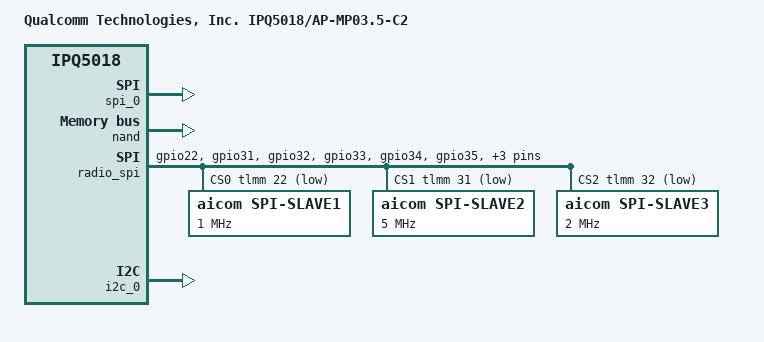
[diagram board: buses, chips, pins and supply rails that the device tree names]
/* Copyright (c) 2018-2021, The Linux Foundation. All rights reserved.
 *
 * Permission to use, copy, modify, and/or distribute this software for any
 * purpose with or without fee is hereby granted, provided that the above
 * copyright notice and this permission notice appear in all copies.
 *
 * THE SOFTWARE IS PROVIDED "AS IS" AND THE AUTHOR DISCLAIMS ALL WARRANTIES
 * WITH REGARD TO THIS SOFTWARE INCLUDING ALL IMPLIED WARRANTIES OF
 * MERCHANTABILITY AND FITNESS. IN NO EVENT SHALL THE AUTHOR BE LIABLE FOR
 * ANY SPECIAL, DIRECT, INDIRECT, OR CONSEQUENTIAL DAMAGES OR ANY DAMAGES
 * WHATSOEVER RESULTING FROM LOSS OF USE, DATA OR PROFITS, WHETHER IN AN
 * ACTION OF CONTRACT, NEGLIGENCE OR OTHER TORTIOUS ACTION, ARISING OUT OF
 * OR IN CONNECTION WITH THE USE OR PERFORMANCE OF THIS SOFTWARE.
 */

#include "ipq5018-mp03.5-c1.dts"

/ {
	#address-cells = <0x2>;
	#size-cells = <0x2>;
	model = "Qualcomm Technologies, Inc. IPQ5018/AP-MP03.5-C2";
	compatible = "qcom,ipq5018-ap-mp03.5-c2", "qcom,ipq5018-mp03.5-c2", "qcom,ipq5018";
	interrupt-parent = <&intc>;

	aliases {
                spi0 = &spi_0;
		serial0 = &blsp1_uart1;
		serial1 = &blsp1_uart2;
		ethernet0 = "/soc/dp1";
		ethernet1 = "/soc/dp2";
	};

	soc {
		spi_0: spi@78b5000 { /* BLSP1 QUP0 */
			status = "ok";
		};

                /* wangyaoyang:
                 * emmc and nand-flash are sharing same GPIO pins
                 * only one of them can be enabled at one time
                * we choose to enable nand-flash here.
                */
		qpic_bam: dma@7984000{
			status = "ok";
		};

		nand: qpic-nand@79b0000 {
                        status = "ok";
		};

                /* wangyaoyang : GPIO configuration for Radio-SPI driver */
                radio_spi: radio-spi {
                        compatible = "aicom,radio-spi";
                        pinctrl-names = "default";
                        pinctrl-0 = <&radio_spi_pins>;

                        cs-gpios = <&tlmm 22 GPIO_ACTIVE_LOW>,
                                   <&tlmm 31 GPIO_ACTIVE_LOW>,
                                   <&tlmm 32 GPIO_ACTIVE_LOW>;  // 三个片选引脚
                        sck-gpios = <&tlmm 33 GPIO_ACTIVE_HIGH>;
                        mosi-gpios = <&tlmm 34 GPIO_ACTIVE_HIGH>;
                        miso-gpios = <&tlmm 35 GPIO_ACTIVE_HIGH>;

                        spi-slave1 {
                                compatible = "aicom,spi-slave1";
                                reg = <0>;  // 从设备ID
                                spi-max-frequency = <1000000>; // 1MHz
                                spi-cpol = <0>; // CPOL=0
                                spi-cpha = <0>; // CPHA=0
                        };

                        spi-slave2 {
                                compatible = "aicom,spi-slave2";
                                reg = <1>;  // 从设备ID
                                spi-max-frequency = <5000000>; // 5MHz
                                spi-cpol = <1>; // CPOL=1
                                spi-cpha = <1>; // CPHA=1
                        };

                        spi-slave3 {
                                compatible = "aicom,spi-slave3";
                                reg = <2>;  // 从设备ID
                                spi-max-frequency = <2000000>; // 2MHz
                                spi-cpol = <1>; // CPOL=1
                                spi-cpha = <0>; // CPHA=0
                        };
                };
	};
};

/* wangyaoyang:
 * emmc and nand-flash are claiming same GPIO pins
 * only one of them can be enabled at one time
&sdhc_1 {
	pinctrl-0 = <&emmc_pins>;
	pinctrl-names = "default";
	status = "ok";
};
 */

&i2c_0 {
	pinctrl-0 = <&i2c_pins>;
	pinctrl-names = "default";
	status = "ok";
};

&tlmm {
        /* wangyaoyang */
	radio_spi_pins: radio_spi_pins {
		radio_spi_cs {
			pins = "gpio22", "gpio31", "gpio32";
                        function = "gpio";
			drive-strength = <8>;
			bias-disable;
		};

		radio_spi_clock {
			pins = "gpio33";
                        function = "gpio";
			drive-strength = <8>;
			bias-disable;
		};

		radio_spi_data {
			pins = "gpio34", "gpio35";
                        function = "gpio";
			drive-strength = <8>;
			bias-disable;
		};
	};

        /* wangyaoyang:
         * emmc and nand-flash are sharing same GPIO pins
         * only one of them can be enabled at one time
	emmc_pins: emmc_pins {
		emmc_clk {
			pins = "gpio9";
			function = "sdc1_clk";
			drive-strength = <8>;
			bias-disable;
		};

		emmc_cmd {
			pins = "gpio8";
			function = "sdc1_cmd";
			drive-strength = <8>;
			bias-pull-up;
		};

		emmc_data {
			pins = "gpio4", "gpio5", "gpio6", "gpio7";
			function = "sdc1_data";
			drive-strength = <8>;
			bias-disable;
		};
	};
         */
};
